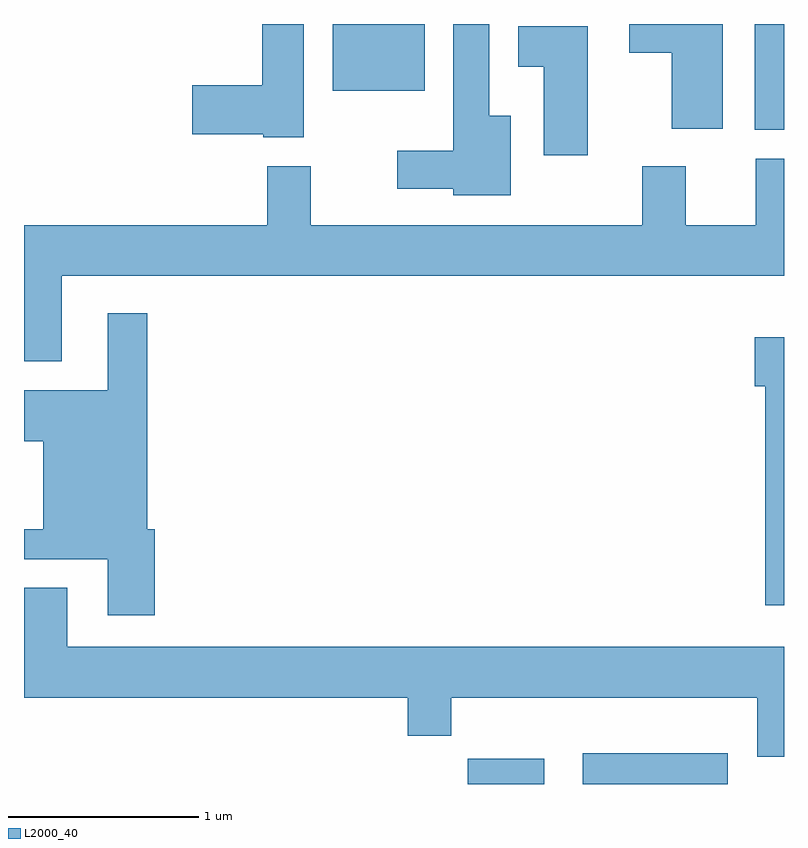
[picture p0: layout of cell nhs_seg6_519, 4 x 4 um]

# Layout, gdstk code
import gdstk
lib = gdstk.Library(unit=1e-6, precision=1e-09)
def R(c, l, rs):  # rectangles x0, y0, x1, y1
    for r in rs: c.add(gdstk.rectangle(r[:2], r[2:], *l))
def P(c, l, *ps):  # polygons
    for p in ps: c.add(gdstk.Polygon(p, *l))
L2000_40 = (2000, 40)

nhs_seg6_519 = lib.new_cell('nhs_seg6_519')
R(nhs_seg6_519, L2000_40, [(201.946,1636.162,202.349,1636.294), (202.551,1636.162,203.314,1636.324), (203.456,1639.606,203.611,1640.162), (201.236,1639.811,201.719,1640.162)])
P(nhs_seg6_519, L2000_40, [(201.084,1640.162),(200.866,1640.162),(200.866,1639.839),(200.496,1639.839),(200.496,1639.581),(200.87,1639.581),(200.87,1639.566),(201.084,1639.566)],
  [(203.289,1640.162),(202.796,1640.162),(202.796,1640.011),(203.021,1640.011),(203.021,1639.611),(203.289,1639.611)],
  [(202.174,1639.679),(202.059,1639.679),(202.059,1640.162),(201.871,1640.162),(201.871,1639.494),(201.576,1639.494),(201.576,1639.296),(201.871,1639.296),(201.871,1639.261),(202.174,1639.261)],
  [(202.579,1640.149),(202.211,1640.149),(202.211,1639.936),(202.346,1639.936),(202.346,1639.471),(202.579,1639.471)],
  [(199.809,1638.836),(203.611,1638.836),(203.611,1639.454),(203.461,1639.454),(203.461,1639.104),(203.094,1639.104),(203.094,1639.414),(202.866,1639.414),(202.866,1639.104),(201.119,1639.104),(201.119,1639.414),(200.891,1639.414),(200.891,1639.104),(199.611,1639.104),(199.611,1638.386),(199.809,1638.386)],
  [(200.299,1637.504),(200.259,1637.504),(200.259,1638.639),(200.051,1638.639),(200.051,1638.234),(199.611,1638.234),(199.611,1637.966),(199.711,1637.966),(199.711,1637.504),(199.611,1637.504),(199.611,1637.346),(200.051,1637.346),(200.051,1637.051),(200.299,1637.051)],
  [(203.611,1638.514),(203.456,1638.514),(203.456,1638.256),(203.511,1638.256),(203.511,1637.103),(203.611,1637.103)],
  [(203.611,1636.884),(199.839,1636.884),(199.839,1637.194),(199.611,1637.194),(199.611,1636.616),(201.631,1636.616),(201.631,1636.416),(201.859,1636.416),(201.859,1636.616),(203.471,1636.616),(203.471,1636.306),(203.611,1636.306)])

lib.write_gds('nhs_seg6_519.gds')
